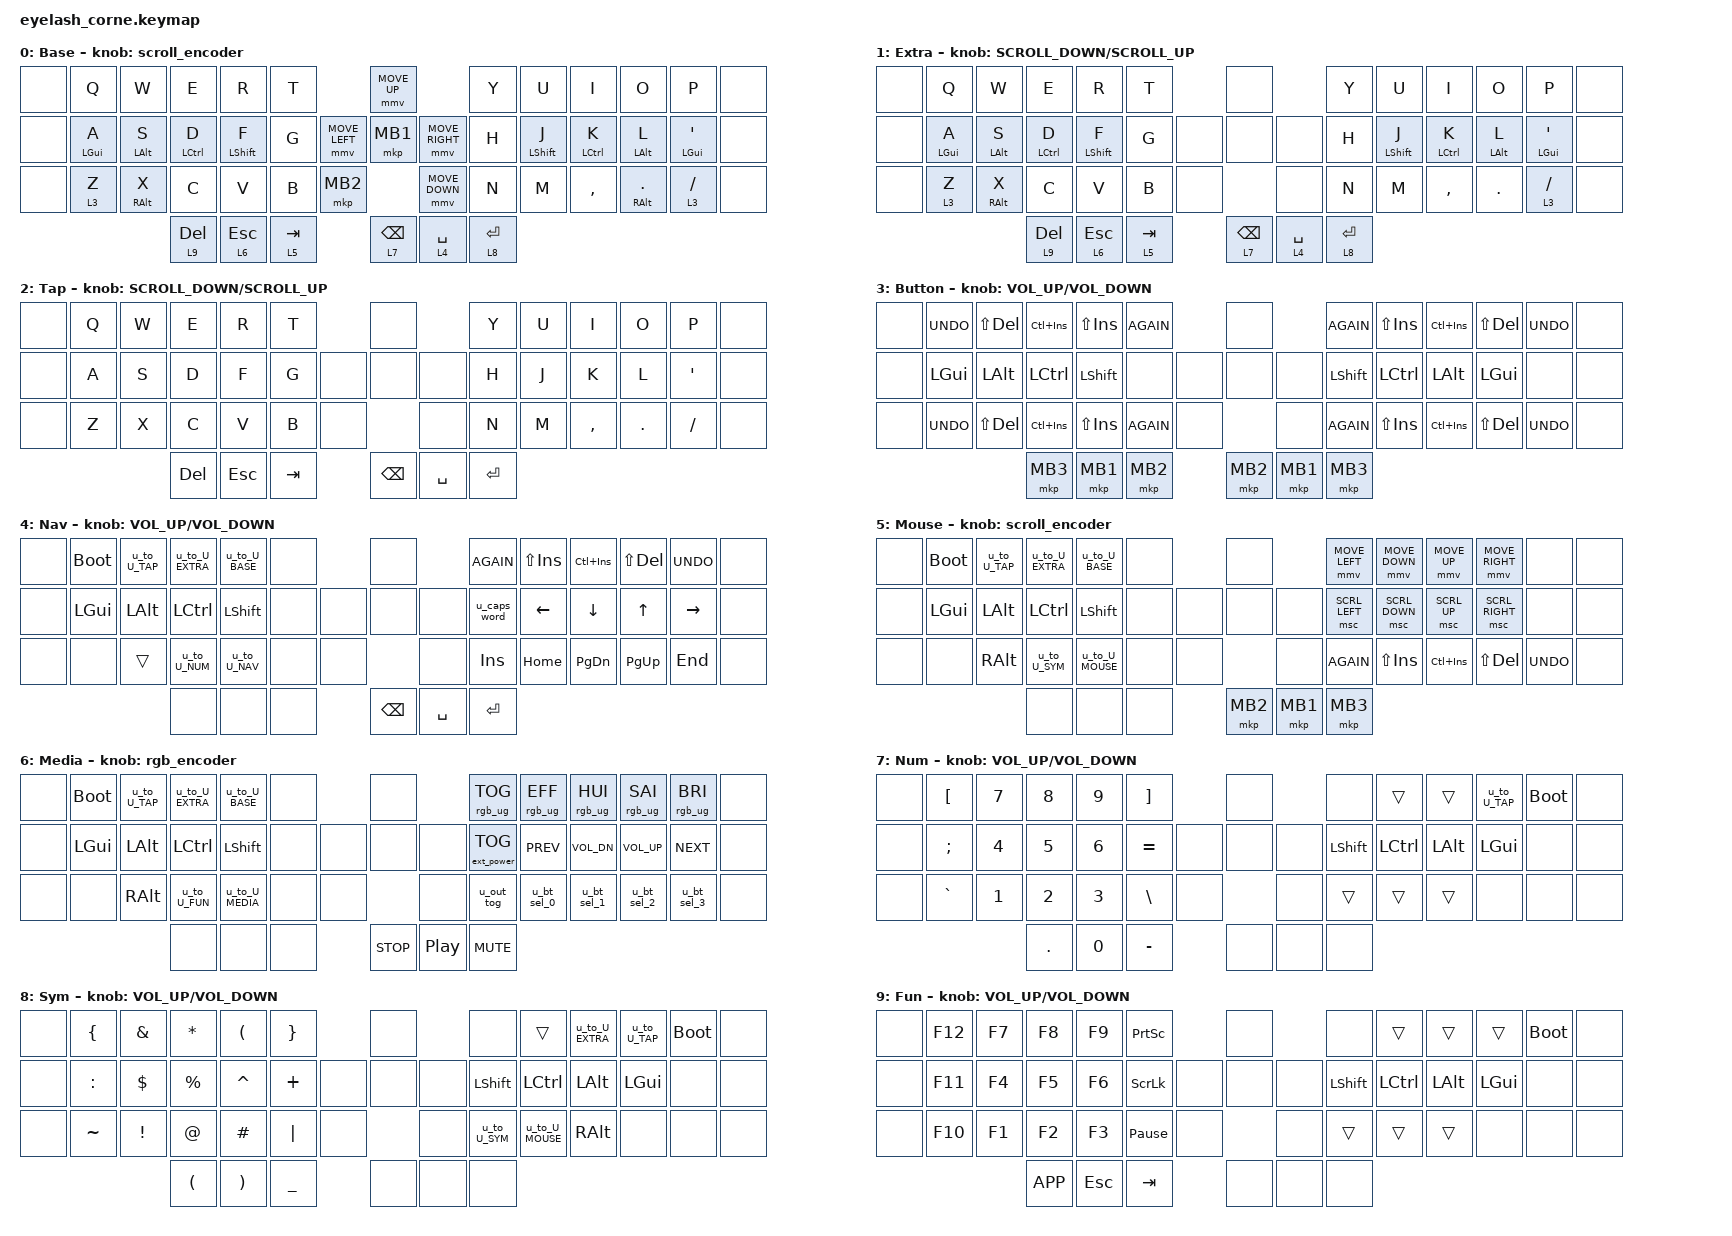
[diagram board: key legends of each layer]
#define ZMK_POINTING_DEFAULT_MOVE_VAL 1200
#define ZMK_POINTING_DEFAULT_SCRL_VAL 25

#include <input/processors.dtsi>
#include <zephyr/dt-bindings/input/input-event-codes.h>
#include <behaviors.dtsi>
#include <dt-bindings/zmk/bt.h>
#include <dt-bindings/zmk/ext_power.h>
#include <dt-bindings/zmk/keys.h>
#include <dt-bindings/zmk/outputs.h>
#include <dt-bindings/zmk/pointing.h>
#include <dt-bindings/zmk/rgb.h>

&mmv_input_listener { input-processors = <&zip_xy_scaler 2 1>; };

&msc_input_listener { input-processors = <&zip_scroll_scaler 2 1>; };

&mmv {
    time-to-max-speed-ms = <500>;
    acceleration-exponent = <1>;
    trigger-period-ms = <16>;
};

&msc {
    acceleration-exponent = <1>;
    time-to-max-speed-ms = <100>;
    delay-ms = <0>;
};

&soft_off { hold-time-ms = <2000>; };

/ {
    rgb_encoder: rgb_encoder {
        compatible = "zmk,behavior-sensor-rotate";
        #sensor-binding-cells = <0>;
        bindings = <&rgb_ug RGB_BRI>, <&rgb_ug RGB_BRD>;
    };

    scroll_encoder: scroll_encoder {
        compatible = "zmk,behavior-sensor-rotate";
        #sensor-binding-cells = <0>;
        bindings = <&msc SCRL_DOWN>, <&msc SCRL_UP>;

        tap-ms = <100>;
    };

    behaviors {
        u_mt: u_mt {
            compatible = "zmk,behavior-hold-tap";
            #binding-cells = <2>;
            tapping-term-ms = <200>;
            flavor = "tap-preferred";
            bindings = <&kp>, <&kp>;
        };

        u_lt: u_lt {
            compatible = "zmk,behavior-hold-tap";
            #binding-cells = <2>;
            tapping-term-ms = <200>;
            flavor = "tap-preferred";
            bindings = <&mo>, <&kp>;
        };

        u_to_U_BASE: u_to_U_BASE {
            compatible = "zmk,behavior-tap-dance";
            #binding-cells = <0>;
            tapping-term-ms = <200>;
            bindings = <&none>, <&to 0>;
        };

        u_to_U_EXTRA: u_to_U_EXTRA {
            compatible = "zmk,behavior-tap-dance";
            #binding-cells = <0>;
            tapping-term-ms = <200>;
            bindings = <&none>, <&to 1>;
        };

        u_to_U_TAP: u_to_U_TAP {
            compatible = "zmk,behavior-tap-dance";
            #binding-cells = <0>;
            tapping-term-ms = <200>;
            bindings = <&none>, <&to 2>;
        };

        u_to_U_BUTTON: u_to_U_BUTTON {
            compatible = "zmk,behavior-tap-dance";
            #binding-cells = <0>;
            tapping-term-ms = <200>;
            bindings = <&none>, <&to 3>;
        };

        u_to_U_NAV: u_to_U_NAV {
            compatible = "zmk,behavior-tap-dance";
            #binding-cells = <0>;
            tapping-term-ms = <200>;
            bindings = <&none>, <&to 4>;
        };

        u_to_U_MOUSE: u_to_U_MOUSE {
            compatible = "zmk,behavior-tap-dance";
            #binding-cells = <0>;
            tapping-term-ms = <200>;
            bindings = <&none>, <&to 5>;
        };

        u_to_U_MEDIA: u_to_U_MEDIA {
            compatible = "zmk,behavior-tap-dance";
            #binding-cells = <0>;
            tapping-term-ms = <200>;
            bindings = <&none>, <&to 6>;
        };

        u_to_U_NUM: u_to_U_NUM {
            compatible = "zmk,behavior-tap-dance";
            #binding-cells = <0>;
            tapping-term-ms = <200>;
            bindings = <&none>, <&to 7>;
        };

        u_to_U_SYM: u_to_U_SYM {
            compatible = "zmk,behavior-tap-dance";
            #binding-cells = <0>;
            tapping-term-ms = <200>;
            bindings = <&none>, <&to 8>;
        };

        u_to_U_FUN: u_to_U_FUN {
            compatible = "zmk,behavior-tap-dance";
            #binding-cells = <0>;
            tapping-term-ms = <200>;
            bindings = <&none>, <&to 9>;
        };

        u_caps_word: u_caps_word {
            compatible = "zmk,behavior-mod-morph";
            #binding-cells = <0>;
            bindings = <&caps_word>, <&kp CAPS>;

            mods = <(MOD_LSFT|MOD_RSFT)>;
        };

        u_out_tog: u_out_tog {
            compatible = "zmk,behavior-mod-morph";
            #binding-cells = <0>;
            bindings = <&out OUT_TOG>, <&out OUT_USB>;

            mods = <(MOD_LSFT|MOD_RSFT)>;
        };

        u_bt_sel_0: u_bt_sel_0 {
            compatible = "zmk,behavior-mod-morph";
            #binding-cells = <0>;
            bindings = <&bt BT_SEL 0>, <&u_macro_u_bt_sel_0>;

            mods = <(MOD_LSFT|MOD_RSFT)>;
        };

        u_bt_sel_1: u_bt_sel_1 {
            compatible = "zmk,behavior-mod-morph";
            #binding-cells = <0>;
            bindings = <&bt BT_SEL 1>, <&u_macro_u_bt_sel_1>;

            mods = <(MOD_LSFT|MOD_RSFT)>;
        };

        u_bt_sel_2: u_bt_sel_2 {
            compatible = "zmk,behavior-mod-morph";
            #binding-cells = <0>;
            bindings = <&bt BT_SEL 2>, <&u_macro_u_bt_sel_2>;

            mods = <(MOD_LSFT|MOD_RSFT)>;
        };

        u_bt_sel_3: u_bt_sel_3 {
            compatible = "zmk,behavior-mod-morph";
            #binding-cells = <0>;
            bindings = <&bt BT_SEL 3>, <&u_macro_u_bt_sel_3>;

            mods = <(MOD_LSFT|MOD_RSFT)>;
        };
    };

    macros {
        u_macro_u_bt_sel_0: u_macro_u_bt_sel_0 {
            compatible = "zmk,behavior-macro";
            #binding-cells = <0>;
            wait-ms = <0>;
            bindings = <&bt BT_SEL 0 &bt BT_CLR>;
        };

        u_macro_u_bt_sel_1: u_macro_u_bt_sel_1 {
            compatible = "zmk,behavior-macro";
            #binding-cells = <0>;
            wait-ms = <0>;
            bindings = <&bt BT_SEL 1 &bt BT_CLR>;
        };

        u_macro_u_bt_sel_2: u_macro_u_bt_sel_2 {
            compatible = "zmk,behavior-macro";
            #binding-cells = <0>;
            wait-ms = <0>;
            bindings = <&bt BT_SEL 2 &bt BT_CLR>;
        };

        u_macro_u_bt_sel_3: u_macro_u_bt_sel_3 {
            compatible = "zmk,behavior-macro";
            #binding-cells = <0>;
            wait-ms = <0>;
            bindings = <&bt BT_SEL 3 &bt BT_CLR>;
        };
    };

    combos { compatible = "zmk,combos"; };

    keymap {
        compatible = "zmk,keymap";

        base_layer {
            display-name = "Base";
            bindings = <
&none  &kp Q         &kp W         &kp E          &kp R          &kp T                                    &mmv MOVE_UP                     &kp Y        &kp U          &kp I          &kp O           &kp P           &none
&none  &u_mt LGUI A  &u_mt LALT S  &u_mt LCTRL D  &u_mt LSHFT F  &kp G                    &mmv MOVE_LEFT  &mkp MB1        &mmv MOVE_RIGHT  &kp H        &u_mt LSHFT J  &u_mt LCTRL K  &u_mt LALT L    &u_mt LGUI SQT  &none
&none  &u_lt 3 Z     &u_mt RALT X  &kp C          &kp V          &kp B        &mkp MB2                    &mmv MOVE_DOWN                   &kp N        &kp M          &kp COMMA      &u_mt RALT DOT  &u_lt 3 SLASH   &none
                                   &u_lt 9 DEL    &u_lt 6 ESC    &u_lt 5 TAB                                &u_lt 7 BSPC  &u_lt 4 SPACE  &u_lt 8 RET
            >;

            sensor-bindings = <&scroll_encoder>;
        };

        extra_layer {
            display-name = "Extra";
            bindings = <
&none  &kp Q         &kp W         &kp E          &kp R          &kp T                        &none         &kp Y        &kp U          &kp I          &kp O         &kp P           &none
&none  &u_mt LGUI A  &u_mt LALT S  &u_mt LCTRL D  &u_mt LSHFT F  &kp G                 &none  &none  &none  &kp H        &u_mt LSHFT J  &u_mt LCTRL K  &u_mt LALT L  &u_mt LGUI SQT  &none
&none  &u_lt 3 Z     &u_mt RALT X  &kp C          &kp V          &kp B        &none           &none         &kp N        &kp M          &kp COMMA      &kp PERIOD    &u_lt 3 SLASH   &none
                                   &u_lt 9 DEL    &u_lt 6 ESC    &u_lt 5 TAB                                &u_lt 7 BSPC  &u_lt 4 SPACE  &u_lt 8 RET
            >;

            sensor-bindings = <&inc_dec_kp K_SCROLL_DOWN K_SCROLL_UP>;
        };

        tap_layer {
            display-name = "Tap";
            bindings = <
&none  &kp Q  &kp W  &kp E    &kp R      &kp T                    &none         &kp Y    &kp U     &kp I      &kp O    &kp P      &none
&none  &kp A  &kp S  &kp D    &kp F      &kp G             &none  &none  &none  &kp H    &kp J     &kp K      &kp L    &kp SQT    &none
&none  &kp Z  &kp X  &kp C    &kp V      &kp B    &none           &none         &kp N    &kp M     &kp COMMA  &kp DOT  &kp SLASH  &none
                     &kp DEL  &kp ESC  &kp TAB                                &kp BSPC  &kp SPACE  &kp RET
            >;

            sensor-bindings = <&inc_dec_kp K_SCROLL_DOWN K_SCROLL_UP>;
        };

        button_layer {
            display-name = "Button";
            bindings = <
&none  &kp K_UNDO  &kp LS(DEL)  &kp LC(INS)  &kp LS(INS)  &kp K_AGAIN                  &none         &kp K_AGAIN  &kp LS(INS)  &kp LC(INS)  &kp LS(DEL)  &kp K_UNDO  &none
&none  &kp LGUI    &kp LALT     &kp LCTRL    &kp LSHFT    &none                 &none  &none  &none  &kp LSHFT    &kp LCTRL    &kp LALT     &kp LGUI     &none       &none
&none  &kp K_UNDO  &kp LS(DEL)  &kp LC(INS)  &kp LS(INS)  &kp K_AGAIN  &none           &none         &kp K_AGAIN  &kp LS(INS)  &kp LC(INS)  &kp LS(DEL)  &kp K_UNDO  &none
                                &mkp MB3     &mkp MB1     &mkp MB2                                   &mkp MB2     &mkp MB1     &mkp MB3
            >;

            sensor-bindings = <&inc_dec_kp C_VOLUME_UP C_VOLUME_DOWN>;
        };

        nav_layer {
            display-name = "Nav";
            bindings = <
&none  &bootloader  &u_to_U_TAP  &u_to_U_EXTRA  &u_to_U_BASE  &none                  &none         &kp K_AGAIN   &kp LS(INS)  &kp LC(INS)  &kp LS(DEL)  &kp K_UNDO  &none
&none  &kp LGUI     &kp LALT     &kp LCTRL      &kp LSHFT     &none           &none  &none  &none  &u_caps_word  &kp LEFT     &kp DOWN     &kp UP       &kp RIGHT   &none
&none  &none        &trans       &u_to_U_NUM    &u_to_U_NAV   &none  &none           &none         &kp INS       &kp HOME     &kp PG_DN    &kp PG_UP    &kp END     &none
                                 &none          &none         &none                                &kp BSPC      &kp SPACE    &kp RET
            >;

            sensor-bindings = <&inc_dec_kp C_VOLUME_UP C_VOLUME_DOWN>;
        };

        mouse_layer {
            display-name = "Mouse";
            bindings = <
&none  &bootloader  &u_to_U_TAP  &u_to_U_EXTRA  &u_to_U_BASE   &none                  &none         &mmv MOVE_LEFT  &mmv MOVE_DOWN  &mmv MOVE_UP  &mmv MOVE_RIGHT  &none       &none
&none  &kp LGUI     &kp LALT     &kp LCTRL      &kp LSHFT      &none           &none  &none  &none  &msc SCRL_LEFT  &msc SCRL_DOWN  &msc SCRL_UP  &msc SCRL_RIGHT  &none       &none
&none  &none        &kp RALT     &u_to_U_SYM    &u_to_U_MOUSE  &none  &none           &none         &kp K_AGAIN     &kp LS(INS)     &kp LC(INS)   &kp LS(DEL)      &kp K_UNDO  &none
                                 &none          &none          &none                                &mkp MB2        &mkp MB1        &mkp MB3
            >;

            sensor-bindings = <&scroll_encoder>;
        };

        media_layer {
            display-name = "Media";
            bindings = <
&none  &bootloader  &u_to_U_TAP  &u_to_U_EXTRA  &u_to_U_BASE   &none                  &none         &rgb_ug RGB_TOG    &rgb_ug RGB_EFF  &rgb_ug RGB_HUI  &rgb_ug RGB_SAI  &rgb_ug RGB_BRI  &none
&none  &kp LGUI     &kp LALT     &kp LCTRL      &kp LSHFT      &none           &none  &none  &none  &ext_power EP_TOG  &kp C_PREV       &kp C_VOL_DN     &kp C_VOL_UP     &kp C_NEXT       &none
&none  &none        &kp RALT     &u_to_U_FUN    &u_to_U_MEDIA  &none  &none           &none         &u_out_tog         &u_bt_sel_0      &u_bt_sel_1      &u_bt_sel_2      &u_bt_sel_3      &none
                                 &none          &none          &none                                &kp C_STOP         &kp C_PP         &kp C_MUTE
            >;

            sensor-bindings = <&rgb_encoder>;
        };

        num_layer {
            display-name = "Num";
            bindings = <
&none  &kp LBKT   &kp N7  &kp N8   &kp N9  &kp RBKT                   &none         &none      &trans     &trans    &u_to_U_TAP  &bootloader  &none
&none  &kp SEMI   &kp N4  &kp N5   &kp N6  &kp EQUAL           &none  &none  &none  &kp LSHFT  &kp LCTRL  &kp LALT  &kp LGUI     &none        &none
&none  &kp GRAVE  &kp N1  &kp N2   &kp N3  &kp BSLH   &none           &none         &trans     &trans     &trans    &none        &none        &none
                          &kp DOT  &kp N0  &kp MINUS                                &none      &none      &none
            >;

            sensor-bindings = <&inc_dec_kp C_VOLUME_UP C_VOLUME_DOWN>;
        };

        sym_layer {
            display-name = "Sym";
            bindings = <
&none  &kp LBRC   &kp AMPS  &kp ASTRK  &kp LPAR   &kp RBRC                   &none         &none        &trans         &u_to_U_EXTRA  &u_to_U_TAP  &bootloader  &none
&none  &kp COLON  &kp DLLR  &kp PRCNT  &kp CARET  &kp PLUS            &none  &none  &none  &kp LSHFT    &kp LCTRL      &kp LALT       &kp LGUI     &none        &none
&none  &kp TILDE  &kp EXCL  &kp AT     &kp HASH   &kp PIPE   &none           &none         &u_to_U_SYM  &u_to_U_MOUSE  &kp RALT       &none        &none        &none
                            &kp LPAR   &kp RPAR   &kp UNDER                                &none        &none          &none
            >;

            sensor-bindings = <&inc_dec_kp C_VOLUME_UP C_VOLUME_DOWN>;
        };

        fun_layer {
            display-name = "Fun";
            bindings = <
&none  &kp F12  &kp F7  &kp F8     &kp F9     &kp PSCRN                        &none         &none      &trans     &trans    &trans    &bootloader  &none
&none  &kp F11  &kp F4  &kp F5     &kp F6     &kp SLCK                  &none  &none  &none  &kp LSHFT  &kp LCTRL  &kp LALT  &kp LGUI  &none        &none
&none  &kp F10  &kp F1  &kp F2     &kp F3     &kp PAUSE_BREAK  &none           &none         &trans     &trans     &trans    &none     &none        &none
                        &kp K_APP  &kp ESC  &kp TAB                                        &none      &none      &none
            >;

            sensor-bindings = <&inc_dec_kp C_VOLUME_UP C_VOLUME_DOWN>;
        };
    };
};
